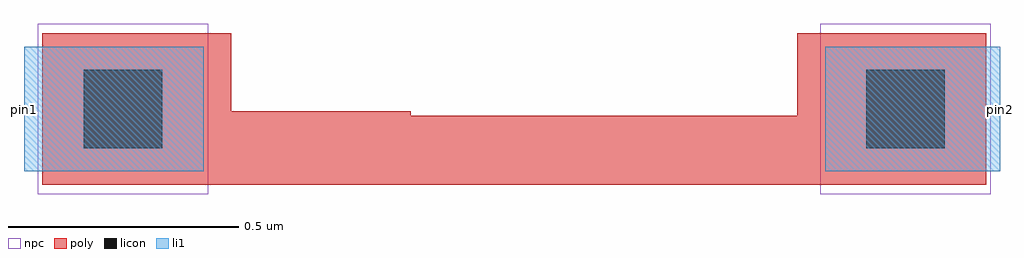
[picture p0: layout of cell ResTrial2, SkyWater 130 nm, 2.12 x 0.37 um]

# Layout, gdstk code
import gdstk
lib = gdstk.Library(unit=1e-6, precision=1e-09)
def R(c, l, rs):  # rectangles x0, y0, x1, y1
    for r in rs: c.add(gdstk.rectangle(r[:2], r[2:], *l))
poly = (66, 20)
licon = (66, 44)
li1 = (67, 20)
npc = (95, 20)

restrial2 = lib.new_cell('ResTrial2')
R(restrial2, poly, [(-0.35,-0.18,1.7,-0.03), (-0.35,-0.03,0.45,-0.02), (1.29,-0.03,1.7,0.15), (-0.35,-0.02,0.06,0.15)])
R(restrial2, licon, [(-0.26,-0.1,-0.09,0.07), (1.44,-0.1,1.61,0.07)])
R(restrial2, li1, [(-0.39,-0.15,0,0.12), (1.35,-0.15,1.73,0.12)])
R(restrial2, npc, [(-0.36,-0.2,0.01,0.17), (1.34,-0.2,1.71,0.17)])
restrial2.add(gdstk.Label('pin1', (-0.39,-0.015), layer=67, texttype=5))
restrial2.add(gdstk.Label('pin2', (1.73,-0.015), layer=67, texttype=5))

lib.write_gds('ResTrial2.gds')
